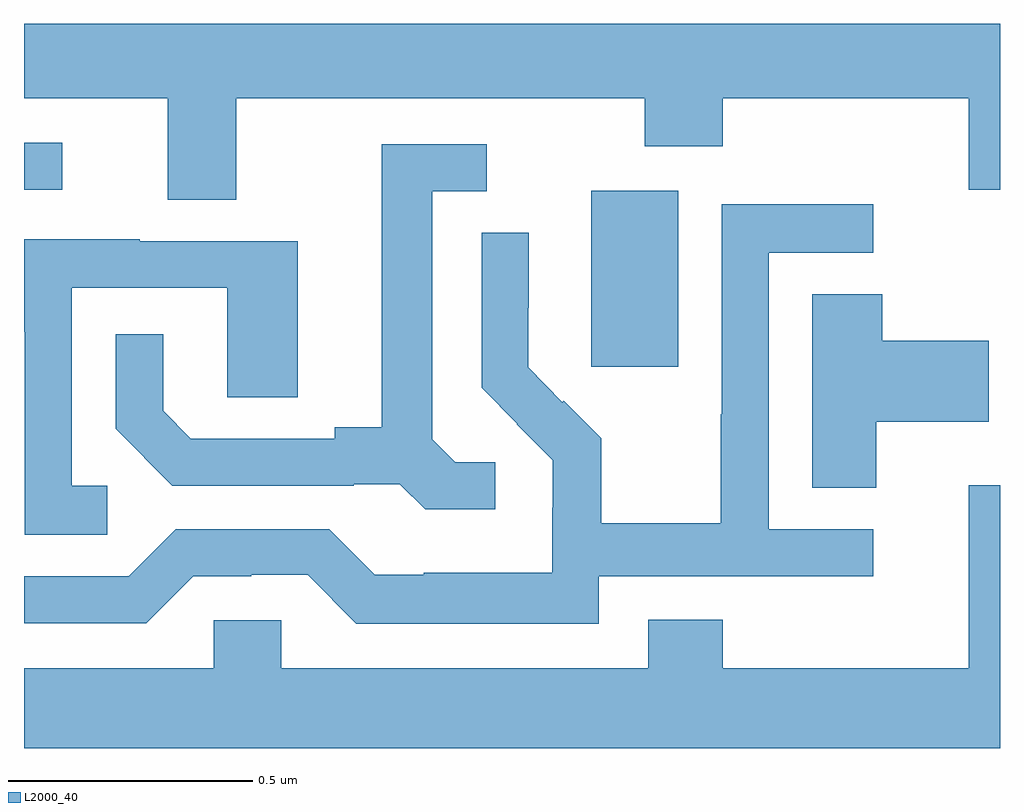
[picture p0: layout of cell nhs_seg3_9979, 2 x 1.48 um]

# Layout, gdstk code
import gdstk
lib = gdstk.Library(unit=1e-6, precision=1e-09)
def R(c, l, rs):  # rectangles x0, y0, x1, y1
    for r in rs: c.add(gdstk.rectangle(r[:2], r[2:], *l))
def P(c, l, *ps):  # polygons
    for p in ps: c.add(gdstk.Polygon(p, *l))
L2000_40 = (2000, 40)

nhs_seg3_9979 = lib.new_cell('nhs_seg3_9979')
R(nhs_seg3_9979, L2000_40, [(236.162,701.697,236.341,702.058), (235,702.06,235.078,702.156)])
P(nhs_seg3_9979, L2000_40, [(235.435,702.248),(236.272,702.248),(236.272,702.149),(236.432,702.149),(236.432,702.248),(236.936,702.248),(236.936,702.06),(237,702.06),(237,702.4),(235,702.4),(235,702.248),(235.295,702.248),(235.295,702.04),(235.435,702.04)],
  [(235.966,701.502),(235.884,701.502),(235.837,701.549),(235.837,702.057),(235.948,702.057),(235.948,702.153),(235.733,702.153),(235.733,701.573),(235.637,701.573),(235.637,701.55),(235.342,701.55),(235.285,701.607),(235.285,701.764),(235.188,701.764),(235.188,701.57),(235.304,701.454),(235.676,701.454),(235.676,701.457),(235.77,701.457),(235.822,701.405),(235.966,701.405)],
  [(236.178,701.268),(236.74,701.268),(236.74,701.364),(236.526,701.364),(236.526,701.931),(236.74,701.931),(236.74,702.03),(236.43,702.03),(236.43,701.6),(236.428,701.6),(236.428,701.377),(236.183,701.377),(236.183,701.551),(236.106,701.628),(236.103,701.625),(236.033,701.696),(236.033,701.818),(236.034,701.818),(236.034,701.972),(235.938,701.972),(235.938,701.654),(236.011,701.581),(236.01,701.58),(236.084,701.506),(236.084,701.409),(236.082,701.409),(236.082,701.275),(235.819,701.275),(235.819,701.271),(235.719,701.271),(235.626,701.364),(235.311,701.364),(235.215,701.268),(235,701.268),(235,701.172),(235.251,701.172),(235.347,701.268),(235.466,701.268),(235.466,701.271),(235.581,701.271),(235.681,701.171),(236.178,701.171)],
  [(235.171,701.454),(235.098,701.454),(235.098,701.859),(235.416,701.859),(235.416,701.635),(235.561,701.635),(235.561,701.955),(235.237,701.955),(235.237,701.959),(235,701.959),(235,701.769),(235.002,701.769),(235.002,701.353),(235.171,701.353)],
  [(236.746,701.585),(236.977,701.585),(236.977,701.751),(236.759,701.751),(236.759,701.846),(236.615,701.846),(236.615,701.449),(236.746,701.449)],
  [(237,701.455),(236.936,701.455),(236.936,701.08),(236.432,701.08),(236.432,701.179),(236.279,701.179),(236.279,701.08),(235.527,701.08),(235.527,701.178),(235.389,701.178),(235.389,701.08),(235,701.08),(235,700.916),(237,700.916)])

lib.write_gds('nhs_seg3_9979.gds')
